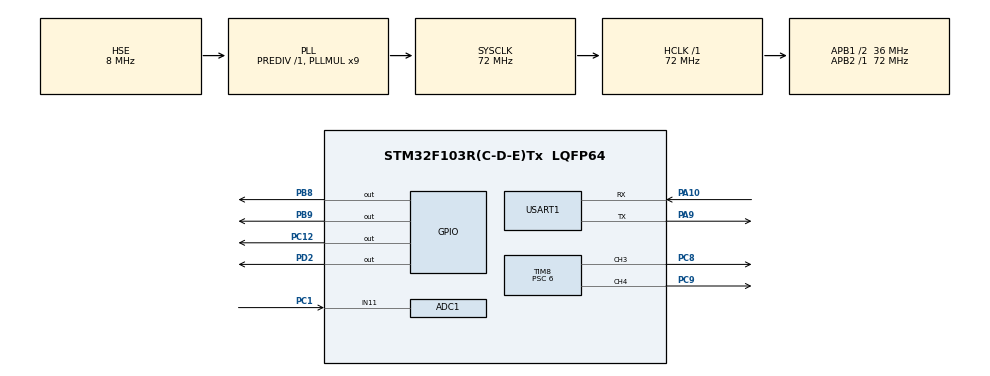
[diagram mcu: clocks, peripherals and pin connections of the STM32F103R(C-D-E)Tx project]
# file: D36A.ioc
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ADC1.Channel-0\#ChannelRegularConversion=ADC_CHANNEL_11
ADC1.NbrOfConversionFlag=1
ADC1.Rank-0\#ChannelRegularConversion=1
ADC1.SamplingTime-0\#ChannelRegularConversion=ADC_SAMPLETIME_1CYCLE_5
ADC1.master=1
Mcu.Family=STM32F1
Mcu.Name=STM32F103R(C-D-E)Tx
Mcu.Package=LQFP64
NVIC.PriorityGroup=NVIC_PRIORITYGROUP_4
NVIC.TIM2_IRQn=true\:0\:0\:false\:false\:true\:true\:true\:true
PA10.Mode=Asynchronous
PA10.Signal=USART1_RX
PA13.Mode=Serial_Wire
PA13.Signal=SYS_JTMS-SWDIO
PA14.Mode=Serial_Wire
PA14.Signal=SYS_JTCK-SWCLK
PA9.Mode=Asynchronous
PA9.Signal=USART1_TX
PB8.Signal=GPIO_Output
PB9.Signal=GPIO_Output
PC1.Signal=ADCx_IN11
PC12.PinState=GPIO_PIN_SET
PC12.Signal=GPIO_Output
PC8.Signal=S_TIM8_CH3
PC9.Signal=S_TIM8_CH4
PD0-OSC_IN.Mode=HSE-External-Oscillator
PD0-OSC_IN.Signal=RCC_OSC_IN
PD1-OSC_OUT.Mode=HSE-External-Oscillator
PD1-OSC_OUT.Signal=RCC_OSC_OUT
PD2.PinState=GPIO_PIN_SET
PD2.Signal=GPIO_Output
ProjectManager.HeapSize=0x200
ProjectManager.StackSize=0x400
ProjectManager.TargetToolchain=CMake
RCC.ADCPresc=RCC_ADCPCLK2_DIV6
RCC.AHBFreq_Value=72000000
RCC.APB1CLKDivider=RCC_HCLK_DIV2
RCC.APB1Freq_Value=36000000
RCC.APB1TimFreq_Value=72000000
RCC.APB2Freq_Value=72000000
RCC.APB2TimFreq_Value=72000000
RCC.HCLKFreq_Value=72000000
RCC.PLLMUL=RCC_PLL_MUL9
RCC.PLLSourceVirtual=RCC_PLLSOURCE_HSE
RCC.SYSCLKFreq_VALUE=72000000
RCC.SYSCLKSource=RCC_SYSCLKSOURCE_PLLCLK
RCC.USBFreq_Value=72000000
SH.ADCx_IN11.0=ADC1_IN11,IN11
SH.S_TIM8_CH3.0=TIM8_CH3,PWM Generation3 CH3
SH.S_TIM8_CH4.0=TIM8_CH4,PWM Generation4 CH4
TIM2.AutoReloadPreload=TIM_AUTORELOAD_PRELOAD_ENABLE
TIM2.Period=199
TIM2.Prescaler=7199
TIM8.AutoReloadPreload=TIM_AUTORELOAD_PRELOAD_DISABLE
TIM8.Channel-PWM\ Generation3\ CH3=TIM_CHANNEL_3
TIM8.Channel-PWM\ Generation4\ CH4=TIM_CHANNEL_4
TIM8.Period=7199
TIM8.Prescaler=6
TIM8.Pulse-PWM\ Generation3\ CH3=50
TIM8.Pulse-PWM\ Generation4\ CH4=50
USART1.VirtualMode=VM_ASYNC
VP_TIM2_VS_ClockSourceINT.Mode=Internal
VP_TIM8_VS_ClockSourceINT.Mode=Internal
board=custom

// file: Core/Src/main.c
/* USER CODE BEGIN Header */
/**
  ******************************************************************************
  * @file           : main.c
  * @brief          : Main program body
  ******************************************************************************
  * @attention
  *
  * Copyright (c) 2025 STMicroelectronics.
  * All rights reserved.
  *
  * This software is licensed under terms that can be found in the LICENSE file
  * in the root directory of this software component.
  * If no LICENSE file comes with this software, it is provided AS-IS.
  *
  ******************************************************************************
  */
/* USER CODE END Header */
#include "main.h"
#include "adc.h"
#include "tim.h"
#include "usart.h"
#include "gpio.h"

/* USER CODE BEGIN Includes */
#include "sys.h"
#include "delay.h"
#include "Timer.h"
#include "ADC_power.h"
/* USER CODE END Includes */

/* USER CODE BEGIN PV */
uint16_t Vol;
float voltage;
/* USER CODE END PV */

void SystemClock_Config(void);

/* USER CODE BEGIN 0 */
struct __FILE
{
	int handle;
};

FILE __stdout;
void _sys_exit(int x)
{
	x = x;
}
int fputc(int ch, FILE *f)
{
	while((USART1->SR&0X40)==0);
	USART1->DR = (u8) ch;
	return ch;
}
/* USER CODE END 0 */

int main(void)
{

  /* MCU Configuration--------------------------------------------------------*/

  /* Reset of all peripherals, Initializes the Flash interface and the Systick. */
  HAL_Init();

  /* Configure the system clock */
  SystemClock_Config();

  /* Initialize all configured peripherals */
  MX_GPIO_Init();
  MX_ADC1_Init();
  MX_TIM8_Init();
  MX_TIM2_Init();
  MX_USART1_UART_Init();
  /* USER CODE BEGIN 2 */
	delay_init();
	HAL_ADCEx_Calibration_Start(&hadc1);
	HAL_TIM_Base_Start_IT(&htim2);
	HAL_TIM_PWM_Start(&htim8, TIM_CHANNEL_3);
	HAL_TIM_PWM_Start(&htim8, TIM_CHANNEL_4);
  /* USER CODE END 2 */

  /* Infinite loop */
  /* USER CODE BEGIN WHILE */
  while (1)
  {
		Vol = GetADC_Power();

		voltage = (float)(Vol*3.3*11/4096);

		printf("当前电池电压为: %f\r\n", voltage);

		delay_ms(200);
    /* USER CODE END WHILE */

  }
}

void SystemClock_Config(void)
{
  RCC_OscInitTypeDef RCC_OscInitStruct = {0};
  RCC_ClkInitTypeDef RCC_ClkInitStruct = {0};
  RCC_PeriphCLKInitTypeDef PeriphClkInit = {0};

  /** Initializes the RCC Oscillators according to the specified parameters
  * in the RCC_OscInitTypeDef structure.
  */
  RCC_OscInitStruct.OscillatorType = RCC_OSCILLATORTYPE_HSE;
  RCC_OscInitStruct.HSEState = RCC_HSE_ON;
  RCC_OscInitStruct.HSEPredivValue = RCC_HSE_PREDIV_DIV1;
  RCC_OscInitStruct.HSIState = RCC_HSI_ON;
  RCC_OscInitStruct.PLL.PLLState = RCC_PLL_ON;
  RCC_OscInitStruct.PLL.PLLSource = RCC_PLLSOURCE_HSE;
  RCC_OscInitStruct.PLL.PLLMUL = RCC_PLL_MUL9;
  if (HAL_RCC_OscConfig(&RCC_OscInitStruct) != HAL_OK)
  {
    Error_Handler();
  }

  /** Initializes the CPU, AHB and APB buses clocks
  */
  RCC_ClkInitStruct.ClockType = RCC_CLOCKTYPE_HCLK|RCC_CLOCKTYPE_SYSCLK
                              |RCC_CLOCKTYPE_PCLK1|RCC_CLOCKTYPE_PCLK2;
  RCC_ClkInitStruct.SYSCLKSource = RCC_SYSCLKSOURCE_PLLCLK;
  RCC_ClkInitStruct.AHBCLKDivider = RCC_SYSCLK_DIV1;
  RCC_ClkInitStruct.APB1CLKDivider = RCC_HCLK_DIV2;
  RCC_ClkInitStruct.APB2CLKDivider = RCC_HCLK_DIV1;

  if (HAL_RCC_ClockConfig(&RCC_ClkInitStruct, FLASH_LATENCY_2) != HAL_OK)
  {
    Error_Handler();
  }
  PeriphClkInit.PeriphClockSelection = RCC_PERIPHCLK_ADC;
  PeriphClkInit.AdcClockSelection = RCC_ADCPCLK2_DIV6;
  if (HAL_RCCEx_PeriphCLKConfig(&PeriphClkInit) != HAL_OK)
  {
    Error_Handler();
  }
}

void Error_Handler(void)
{
  __disable_irq();
  while (1)
  {
  }
}
